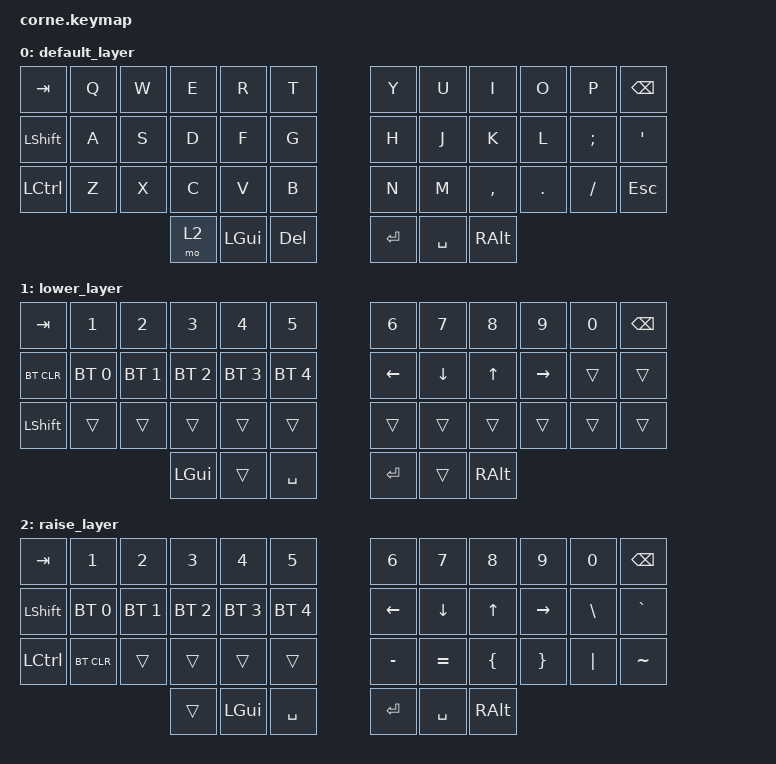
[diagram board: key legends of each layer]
/*
 * Copyright (c) 2020 The ZMK Contributors
 *
 * SPDX-License-Identifier: MIT
 */

#include <behaviors.dtsi>
#include <dt-bindings/zmk/keys.h>
#include <dt-bindings/zmk/bt.h>

/ {
        keymap {
                compatible = "zmk,keymap";

                default_layer {
// -----------------------------------------------------------------------------------------
// |  TAB |  Q  |  W  |  E  |  R  |  T  |   |  Y  |  U   |  I  |  O  |  P  | BKSP |
// | SHFT |  A  |  S  |  D  |  F  |  G  |   |  H  |  J   |  K  |  L  |  ;  |  '   |
// | CTRL |  Z  |  X  |  C  |  V  |  B  |   |  N  |  M   |  ,  |  .  |  /  | ESC  |
//                    | RSE | GUI | DEL |   | ENT | SPC  | ALT |
                        bindings = <
   &kp TAB   &kp Q &kp W &kp E &kp R &kp T   &kp Y &kp U  &kp I     &kp O   &kp P    &kp BSPC
   &kp LSHFT &kp A &kp S &kp D &kp F &kp G   &kp H &kp J  &kp K     &kp L   &kp SEMI &kp SQT
   &kp LCTRL &kp Z &kp X &kp C &kp V &kp B   &kp N &kp M  &kp COMMA &kp DOT &kp FSLH &kp ESC
                &mo 2 &kp LGUI &kp DEL     &kp RET &kp SPACE &kp RALT
                        >;
                };

                lower_layer {
// -----------------------------------------------------------------------------------------
// |  TAB |  1  |  2  |  3  |  4  |  5  |   |  6  |  7  |  8  |  9  |  0  | BKSP |
// | BTCLR| BT1 | BT2 | BT3 | BT4 | BT5 |   | LFT | DWN |  UP | RGT |     |      |
// | SHFT |     |     |     |     |     |   |     |     |     |     |     |      |
//                    | GUI |     | SPC |   | ENT |     | ALT |
                        bindings = <
   &kp TAB    &kp N1       &kp N2       &kp N3       &kp N4       &kp N5         &kp N6   &kp N7   &kp N8 &kp N9    &kp N0 &kp BSPC
   &bt BT_CLR &bt BT_SEL 0 &bt BT_SEL 1 &bt BT_SEL 2 &bt BT_SEL 3 &bt BT_SEL 4   &kp LEFT &kp DOWN &kp UP &kp RIGHT &trans &trans
   &kp LSHFT  &trans       &trans       &trans       &trans       &trans         &trans   &trans   &trans &trans    &trans &trans
                          	        &kp LGUI     &trans       &kp SPACE      &kp RET  &trans   &kp RALT
                        >;
                };

                raise_layer {
// -----------------------------------------------------------------------------------------
// |  TAB |  1  |  2  |  3  |  4  |  5  |   |  6  |  7  |  8  |  9  |  0  | BKSP |
// | SHFT | BT1 | BT2 | BT3 | BT4 | BT5 |   | LFT | DWN | UP  | RGT |  \  |  `   |
// | CTRL |     |     |     |     |     |   |  -  |  =  |  {  |  }  | "|" |  ~   |
//                    |     | GUI | SPC |   | ENT | SPC | ALT |
                        bindings = <
   &kp TAB &kp N1 &kp N2 &kp N3 &kp N4 &kp N5 &kp N6 &kp N7   &kp N8 &kp N9    &kp N0 &kp BSPC
   &kp LSHFT &bt BT_SEL 0 &bt BT_SEL 1 &bt BT_SEL 2 &bt BT_SEL 3 &bt BT_SEL 4  &kp LEFT &kp DOWN &kp UP &kp RIGHT &kp BSLH &kp GRAVE
   &kp LCTRL &bt BT_CLR &trans &trans &trans &trans &kp MINUS &kp EQUAL &kp LBRC &kp RBRC &kp PIPE &kp TILDE
                  &trans &kp LGUI &kp SPACE   &kp RET &kp SPACE &kp RALT
                        >;
                };
        };
};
